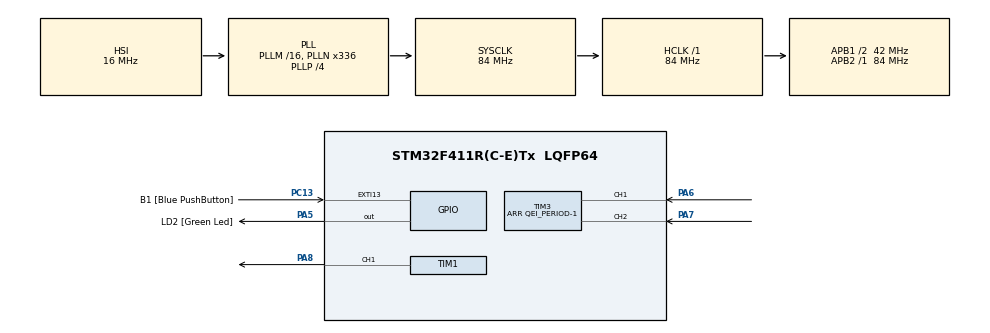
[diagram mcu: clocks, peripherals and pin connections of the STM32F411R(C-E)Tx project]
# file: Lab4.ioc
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ARM.CMSIS.5.6.0.CMSISJjCORE=true
ARM.CMSIS.5.6.0.CMSISJjDSP=Library
Mcu.Family=STM32F4
Mcu.Name=STM32F411R(C-E)Tx
Mcu.Package=LQFP64
Mcu.UserConstants=QEI_PERIOD,64512
NVIC.PriorityGroup=NVIC_PRIORITYGROUP_0
NVIC.TIM5_IRQn=true\:0\:0\:false\:false\:true\:true\:true\:true
PA13.GPIO_Label=TMS
PA13.Signal=SYS_JTMS-SWDIO
PA14.GPIO_Label=TCK
PA14.Signal=SYS_JTCK-SWCLK
PA2.GPIO_Label=USART_TX
PA2.Signal=USART2_TX
PA3.GPIO_Label=USART_RX
PA3.Signal=USART2_RX
PA5.GPIO_Label=LD2 [Green Led]
PA5.Signal=GPIO_Output
PA6.Signal=S_TIM3_CH1
PA7.Signal=S_TIM3_CH2
PA8.Signal=S_TIM1_CH1
PB3.GPIO_Label=SWO
PB3.Signal=SYS_JTDO-SWO
PC13-ANTI_TAMP.GPIO_Label=B1 [Blue PushButton]
PC13-ANTI_TAMP.GPIO_ModeDefaultEXTI=GPIO_MODE_IT_FALLING
PC13-ANTI_TAMP.Signal=GPXTI13
PC14-OSC32_IN.Signal=RCC_OSC32_IN
PC15-OSC32_OUT.Signal=RCC_OSC32_OUT
PH0\ -\ OSC_IN.Signal=RCC_OSC_IN
PH1\ -\ OSC_OUT.Signal=RCC_OSC_OUT
ProjectManager.HeapSize=0x200
ProjectManager.StackSize=0x400
ProjectManager.TargetToolchain=STM32CubeIDE
RCC.48MHZClocksFreq_Value=84000000
RCC.AHBFreq_Value=84000000
RCC.APB1CLKDivider=RCC_HCLK_DIV2
RCC.APB1Freq_Value=42000000
RCC.APB1TimFreq_Value=84000000
RCC.APB2Freq_Value=84000000
RCC.APB2TimFreq_Value=84000000
RCC.CortexFreq_Value=84000000
RCC.FLatency-AdvancedSettings=FLASH_LATENCY_2
RCC.HCLKFreq_Value=84000000
RCC.HSE_VALUE=8000000
RCC.HSI_VALUE=16000000
RCC.LSE_VALUE=32768
RCC.PLLN=336
RCC.PLLP=RCC_PLLP_DIV4
RCC.SYSCLKFreq_VALUE=84000000
RCC.SYSCLKSource=RCC_SYSCLKSOURCE_PLLCLK
RCC.VCOOutputFreq_Value=336000000
SH.S_TIM1_CH1.0=TIM1_CH1,PWM Generation1 CH1
SH.S_TIM3_CH1.0=TIM3_CH1,Encoder_Interface
SH.S_TIM3_CH2.0=TIM3_CH2,Encoder_Interface
TIM1.Channel-PWM\ Generation1\ CH1=TIM_CHANNEL_1
TIM1.Period=9999
TIM1.Prescaler=83
TIM3.EncoderMode=TIM_ENCODERMODE_TI12
TIM3.Period=QEI_PERIOD-1
TIM5.Prescaler=83
VP_ARM.CMSIS_VS_CMSISJjCORE_5.3.0_5.6.0.Mode=CMSISJjCORE
VP_ARM.CMSIS_VS_CMSISJjDSP_1.7.0_5.6.0.Mode=CMSISJjDSP
VP_TIM5_VS_ClockSourceINT.Mode=Internal
board=NUCLEO-F411RE

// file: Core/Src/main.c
/* USER CODE BEGIN Header */
/**
  ******************************************************************************
  * @file           : main.c
  * @brief          : Main program body
  ******************************************************************************
  * @attention
  *
  * Copyright (c) 2023 STMicroelectronics.
  * All rights reserved.
  *
  * This software is licensed under terms that can be found in the LICENSE file
  * in the root directory of this software component.
  * If no LICENSE file comes with this software, it is provided AS-IS.
  *
  ******************************************************************************
  */
/* USER CODE END Header */
#include "main.h"

/* USER CODE BEGIN Includes */
#include "arm_math.h"
/* USER CODE END Includes */

TIM_HandleTypeDef htim1;
TIM_HandleTypeDef htim3;
TIM_HandleTypeDef htim5;

/* USER CODE BEGIN PV */
float currentDegree;
int64_t currentTime ;
float duty = 500;
typedef struct _QEIStructure
{
	uint32_t data[2];
	uint64_t timestamp[2];

	float QEIPosition;
	float QEIVelocity;
	}QEIStructureTypedef;
	QEIStructureTypedef QEIData = {0};
	arm_pid_instance_f32 PID = {0};
/* USER CODE END PV */

void SystemClock_Config(void);
static void MX_GPIO_Init(void);
static void MX_TIM3_Init(void);
static void MX_TIM5_Init(void);
static void MX_TIM1_Init(void);
/* USER CODE BEGIN PFP */
void QEIEncoderPositionVelocity_Update();
/* USER CODE END PFP */

int main(void)
{

  /* MCU Configuration--------------------------------------------------------*/

  /* Reset of all peripherals, Initializes the Flash interface and the Systick. */
  HAL_Init();

  /* Configure the system clock */
  SystemClock_Config();

  /* Initialize all configured peripherals */
  MX_GPIO_Init();
  MX_TIM3_Init();
  MX_TIM5_Init();
  MX_TIM1_Init();
  /* USER CODE BEGIN 2 */
  HAL_TIM_Base_Start(&htim1);
  HAL_TIM_PWM_Start(&htim1, TIM_CHANNEL_1);

  HAL_TIM_Encoder_Start(&htim3, TIM_CHANNEL_1|TIM_CHANNEL_2 );

  HAL_TIM_Base_Start(&htim5);

  PID.Kp = 25;
  PID.Ki = 0.001;
  PID.Kd = 0.1;
  arm_pid_init_f32(&PID, 0);
  /* USER CODE END 2 */

  /* Infinite loop */
  while (1)
  {

    /* USER CODE BEGIN 3 */
	  __HAL_TIM_SET_COMPARE(&htim1,TIM_CHANNEL_1,duty);
	  static uint64_t timestamp = 0;
	  currentTime = __HAL_TIM_GET_COUNTER(&htim5);
	  if (currentTime > timestamp)//10HZ
	  {
		  timestamp = currentTime + 100000;
		  QEIEncoderPositionVelocity_Update(currentTime);
	  }
  }
  /* USER CODE END 3 */
}

void SystemClock_Config(void)
{
  RCC_OscInitTypeDef RCC_OscInitStruct = {0};
  RCC_ClkInitTypeDef RCC_ClkInitStruct = {0};

  /** Configure the main internal regulator output voltage
  */
  __HAL_RCC_PWR_CLK_ENABLE();
  __HAL_PWR_VOLTAGESCALING_CONFIG(PWR_REGULATOR_VOLTAGE_SCALE1);

  /** Initializes the RCC Oscillators according to the specified parameters
  * in the RCC_OscInitTypeDef structure.
  */
  RCC_OscInitStruct.OscillatorType = RCC_OSCILLATORTYPE_HSI;
  RCC_OscInitStruct.HSIState = RCC_HSI_ON;
  RCC_OscInitStruct.HSICalibrationValue = RCC_HSICALIBRATION_DEFAULT;
  RCC_OscInitStruct.PLL.PLLState = RCC_PLL_ON;
  RCC_OscInitStruct.PLL.PLLSource = RCC_PLLSOURCE_HSI;
  RCC_OscInitStruct.PLL.PLLM = 16;
  RCC_OscInitStruct.PLL.PLLN = 336;
  RCC_OscInitStruct.PLL.PLLP = RCC_PLLP_DIV4;
  RCC_OscInitStruct.PLL.PLLQ = 4;
  if (HAL_RCC_OscConfig(&RCC_OscInitStruct) != HAL_OK)
  {
    Error_Handler();
  }

  /** Initializes the CPU, AHB and APB buses clocks
  */
  RCC_ClkInitStruct.ClockType = RCC_CLOCKTYPE_HCLK|RCC_CLOCKTYPE_SYSCLK
                              |RCC_CLOCKTYPE_PCLK1|RCC_CLOCKTYPE_PCLK2;
  RCC_ClkInitStruct.SYSCLKSource = RCC_SYSCLKSOURCE_PLLCLK;
  RCC_ClkInitStruct.AHBCLKDivider = RCC_SYSCLK_DIV1;
  RCC_ClkInitStruct.APB1CLKDivider = RCC_HCLK_DIV2;
  RCC_ClkInitStruct.APB2CLKDivider = RCC_HCLK_DIV1;

  if (HAL_RCC_ClockConfig(&RCC_ClkInitStruct, FLASH_LATENCY_2) != HAL_OK)
  {
    Error_Handler();
  }
}

static void MX_TIM1_Init(void)
{

  TIM_MasterConfigTypeDef sMasterConfig = {0};
  TIM_OC_InitTypeDef sConfigOC = {0};
  TIM_BreakDeadTimeConfigTypeDef sBreakDeadTimeConfig = {0};

  htim1.Instance = TIM1;
  htim1.Init.Prescaler = 83;
  htim1.Init.CounterMode = TIM_COUNTERMODE_UP;
  htim1.Init.Period = 9999;
  htim1.Init.ClockDivision = TIM_CLOCKDIVISION_DIV1;
  htim1.Init.RepetitionCounter = 0;
  htim1.Init.AutoReloadPreload = TIM_AUTORELOAD_PRELOAD_DISABLE;
  if (HAL_TIM_PWM_Init(&htim1) != HAL_OK)
  {
    Error_Handler();
  }
  sMasterConfig.MasterOutputTrigger = TIM_TRGO_RESET;
  sMasterConfig.MasterSlaveMode = TIM_MASTERSLAVEMODE_DISABLE;
  if (HAL_TIMEx_MasterConfigSynchronization(&htim1, &sMasterConfig) != HAL_OK)
  {
    Error_Handler();
  }
  sConfigOC.OCMode = TIM_OCMODE_PWM1;
  sConfigOC.Pulse = 0;
  sConfigOC.OCPolarity = TIM_OCPOLARITY_HIGH;
  sConfigOC.OCNPolarity = TIM_OCNPOLARITY_HIGH;
  sConfigOC.OCFastMode = TIM_OCFAST_DISABLE;
  sConfigOC.OCIdleState = TIM_OCIDLESTATE_RESET;
  sConfigOC.OCNIdleState = TIM_OCNIDLESTATE_RESET;
  if (HAL_TIM_PWM_ConfigChannel(&htim1, &sConfigOC, TIM_CHANNEL_1) != HAL_OK)
  {
    Error_Handler();
  }
  sBreakDeadTimeConfig.OffStateRunMode = TIM_OSSR_DISABLE;
  sBreakDeadTimeConfig.OffStateIDLEMode = TIM_OSSI_DISABLE;
  sBreakDeadTimeConfig.LockLevel = TIM_LOCKLEVEL_OFF;
  sBreakDeadTimeConfig.DeadTime = 0;
  sBreakDeadTimeConfig.BreakState = TIM_BREAK_DISABLE;
  sBreakDeadTimeConfig.BreakPolarity = TIM_BREAKPOLARITY_HIGH;
  sBreakDeadTimeConfig.AutomaticOutput = TIM_AUTOMATICOUTPUT_DISABLE;
  if (HAL_TIMEx_ConfigBreakDeadTime(&htim1, &sBreakDeadTimeConfig) != HAL_OK)
  {
    Error_Handler();
  }
  HAL_TIM_MspPostInit(&htim1);

}

static void MX_TIM3_Init(void)
{

  TIM_Encoder_InitTypeDef sConfig = {0};
  TIM_MasterConfigTypeDef sMasterConfig = {0};

  htim3.Instance = TIM3;
  htim3.Init.Prescaler = 0;
  htim3.Init.CounterMode = TIM_COUNTERMODE_UP;
  htim3.Init.Period = QEI_PERIOD-1;
  htim3.Init.ClockDivision = TIM_CLOCKDIVISION_DIV1;
  htim3.Init.AutoReloadPreload = TIM_AUTORELOAD_PRELOAD_DISABLE;
  sConfig.EncoderMode = TIM_ENCODERMODE_TI12;
  sConfig.IC1Polarity = TIM_ICPOLARITY_RISING;
  sConfig.IC1Selection = TIM_ICSELECTION_DIRECTTI;
  sConfig.IC1Prescaler = TIM_ICPSC_DIV1;
  sConfig.IC1Filter = 0;
  sConfig.IC2Polarity = TIM_ICPOLARITY_RISING;
  sConfig.IC2Selection = TIM_ICSELECTION_DIRECTTI;
  sConfig.IC2Prescaler = TIM_ICPSC_DIV1;
  sConfig.IC2Filter = 0;
  if (HAL_TIM_Encoder_Init(&htim3, &sConfig) != HAL_OK)
  {
    Error_Handler();
  }
  sMasterConfig.MasterOutputTrigger = TIM_TRGO_RESET;
  sMasterConfig.MasterSlaveMode = TIM_MASTERSLAVEMODE_DISABLE;
  if (HAL_TIMEx_MasterConfigSynchronization(&htim3, &sMasterConfig) != HAL_OK)
  {
    Error_Handler();
  }

}

static void MX_TIM5_Init(void)
{

  TIM_ClockConfigTypeDef sClockSourceConfig = {0};
  TIM_MasterConfigTypeDef sMasterConfig = {0};

  htim5.Instance = TIM5;
  htim5.Init.Prescaler = 83;
  htim5.Init.CounterMode = TIM_COUNTERMODE_UP;
  htim5.Init.Period = 4294967295;
  htim5.Init.ClockDivision = TIM_CLOCKDIVISION_DIV1;
  htim5.Init.AutoReloadPreload = TIM_AUTORELOAD_PRELOAD_DISABLE;
  if (HAL_TIM_Base_Init(&htim5) != HAL_OK)
  {
    Error_Handler();
  }
  sClockSourceConfig.ClockSource = TIM_CLOCKSOURCE_INTERNAL;
  if (HAL_TIM_ConfigClockSource(&htim5, &sClockSourceConfig) != HAL_OK)
  {
    Error_Handler();
  }
  sMasterConfig.MasterOutputTrigger = TIM_TRGO_RESET;
  sMasterConfig.MasterSlaveMode = TIM_MASTERSLAVEMODE_DISABLE;
  if (HAL_TIMEx_MasterConfigSynchronization(&htim5, &sMasterConfig) != HAL_OK)
  {
    Error_Handler();
  }

}

static void MX_GPIO_Init(void)
{
  GPIO_InitTypeDef GPIO_InitStruct = {0};

  /* GPIO Ports Clock Enable */
  __HAL_RCC_GPIOC_CLK_ENABLE();
  __HAL_RCC_GPIOH_CLK_ENABLE();
  __HAL_RCC_GPIOA_CLK_ENABLE();
  __HAL_RCC_GPIOB_CLK_ENABLE();

  /*Configure GPIO pin Output Level */
  HAL_GPIO_WritePin(LD2_GPIO_Port, LD2_Pin, GPIO_PIN_RESET);

  /*Configure GPIO pin : B1_Pin */
  GPIO_InitStruct.Pin = B1_Pin;
  GPIO_InitStruct.Mode = GPIO_MODE_IT_FALLING;
  GPIO_InitStruct.Pull = GPIO_NOPULL;
  HAL_GPIO_Init(B1_GPIO_Port, &GPIO_InitStruct);

  /*Configure GPIO pins : USART_TX_Pin USART_RX_Pin */
  GPIO_InitStruct.Pin = USART_TX_Pin|USART_RX_Pin;
  GPIO_InitStruct.Mode = GPIO_MODE_AF_PP;
  GPIO_InitStruct.Pull = GPIO_NOPULL;
  GPIO_InitStruct.Speed = GPIO_SPEED_FREQ_VERY_HIGH;
  GPIO_InitStruct.Alternate = GPIO_AF7_USART2;
  HAL_GPIO_Init(GPIOA, &GPIO_InitStruct);

  /*Configure GPIO pin : LD2_Pin */
  GPIO_InitStruct.Pin = LD2_Pin;
  GPIO_InitStruct.Mode = GPIO_MODE_OUTPUT_PP;
  GPIO_InitStruct.Pull = GPIO_NOPULL;
  GPIO_InitStruct.Speed = GPIO_SPEED_FREQ_LOW;
  HAL_GPIO_Init(LD2_GPIO_Port, &GPIO_InitStruct);

}

/* USER CODE BEGIN 4 */
void QEIEncoderPositionVelocity_Update()
{
	QEIData.timestamp[0] =  __HAL_TIM_GET_COUNTER(&htim5);
	uint32_t counterPosition = __HAL_TIM_GET_COUNTER(&htim3);
	QEIData.data[0] = counterPosition;

	QEIData.QEIPosition = counterPosition % 3072 ;

	int32_t diffPosition = QEIData.data[0] - QEIData.data[1];
	float difftime = (QEIData.timestamp[0]-QEIData.timestamp[1]);

	if(diffPosition > QEI_PERIOD >>1) diffPosition -= QEI_PERIOD;
	if(diffPosition < -(QEI_PERIOD >>1)) diffPosition += QEI_PERIOD;

	QEIData.QEIVelocity = (diffPosition * 1000000)/difftime;

	QEIData.data[1] = QEIData.data[0];
	QEIData.timestamp[1] = QEIData.timestamp[0];
	currentDegree =  QEIData.QEIPosition *360/3071;

}
/* USER CODE END 4 */

void Error_Handler(void)
{
  __disable_irq();
  while (1)
  {
  }
}
